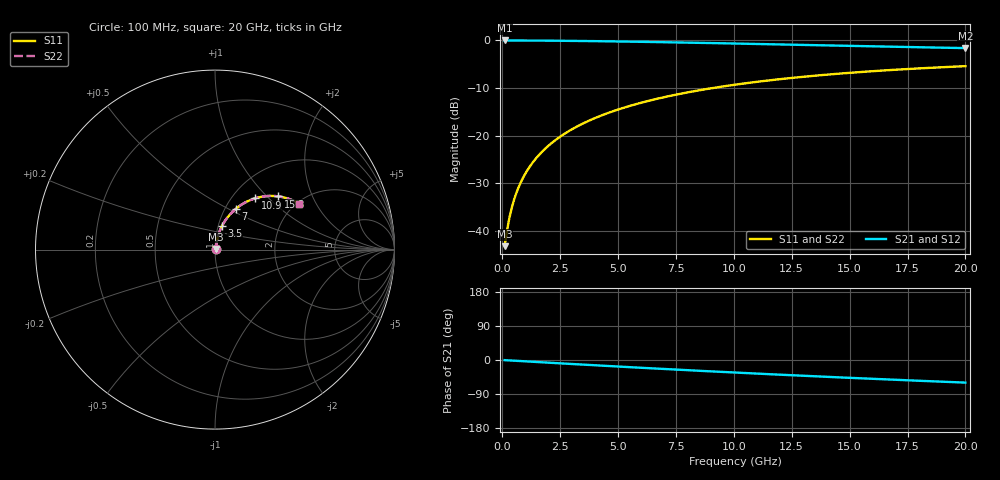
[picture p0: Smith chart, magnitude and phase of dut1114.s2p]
! Touchstone file exported from HFSS 2026.1.0
!  File:  C:/ffzhzh/LocalFiles/Ansys_Project_Files/temp_train_BSMRDL_1114_1783175011_18472.aedt
!  Generated:  10:24:50 PM Jul  4, 2026
!  Design:  BSMRDL
!  Project:  temp_train_BSMRDL_1114_1783175011_18472
! Variables:
!  h_bsmrdl = 5.72um
!  h_ox = 20um
!  h_rdl = 5um
!  h_sub = 80um
!  h_tmrdl = 5um
!  h_tsv = 80um
!  h_via = 3um
!  l_bsmrdl = 949.93um
!  l_sub = 1349.93um
!  l_tmrdl = 200um
!  m_sub = 200um
!  pitch = 35.67um
!  r_tsv = 6um
!  s_tmrdl = 10um
!  w_bsmrdl = 10.42um
!  w_sub = 500um
!  w_tmrdl = 12um
!  x_tsv_center1 = 206um
!  x_tsv_center2 = 1166.35um
!  x_tsv_center3 = 1378.35um
!  x_tsv_center4 = 2338.7um
!  x_tsv_center5 = 2550.7um
!  x_tsv_center6 = 3511.05um
# GHz S MA R 50.000000
! Terminal data exported
! Port[1] = BSM_RDL1_1_T1
! Port[2] = BSM_RDL1_1_T2
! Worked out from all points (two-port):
!   200 points, 100 MHz to 20 GHz, reference 50 ohm
!   highest |S21| = -0.05 dB at 100 MHz (marker M1); lowest = -1.6 dB at 20 GHz (marker M2)
!   |S21| within 3 dB of the highest: start of sweep to end of sweep
!   lowest |S11| = -43.1 dB at 100 MHz (marker M3), VSWR 1.01, Z = 50.6 + j0.414 ohm
!   |S11| at or under -10 dB: start of sweep to 9.108 GHz
!   |S22| runs from -43.1 to -5.4 dB; largest |S21 - S12| = 4e-15
!   S11 on the Smith chart (normalised r, x): 100 MHz: 1.01, +0.01; 3.5 GHz: 1.04, +0.27; 7 GHz: 1.12, +0.54; 10.9 GHz: 1.27, +0.84; 15.3 GHz: 1.56, +1.17; 20 GHz: 2.06, +1.47
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0.1  0.006963 36.0  0.9944 -0.4  0.9944 -0.4  0.006963 36.0
! Gamma 0 0 0 0
! Port Impedance 50 0 50 0
0.2  0.01 54.4  0.9942 -0.7  0.9942 -0.7  0.01 54.4
0.3  0.01355 63.3  0.9941 -1.1  0.9941 -1.1  0.01355 63.3
0.4  0.01726 68.3  0.9939 -1.4  0.9939 -1.4  0.01726 68.3
0.5  0.02104 71.4  0.9937 -1.8  0.9937 -1.8  0.02104 71.4
0.6  0.02485 73.4  0.9935 -2.2  0.9935 -2.2  0.02485 73.4
0.8  0.03252 75.8  0.9931 -2.9  0.9931 -2.9  0.03252 75.8
1.1  0.0441 77.4  0.9924 -3.9  0.9924 -3.9  0.0441 77.5
1.5  0.05956 77.9  0.9913 -5.3  0.9913 -5.3  0.05956 77.9
2.1  0.08258 77.3  0.989 -7.4  0.989 -7.4  0.08258 77.3
2.7  0.1053 75.9  0.9861 -9.5  0.9861 -9.5  0.1053 75.9
3.5  0.1348 73.7  0.9814 -12.2  0.9814 -12.2  0.1348 73.7
5  0.1879 69.2  0.9707 -17.3  0.9707 -17.3  0.1879 69.2
6.8  0.2472 63.7  0.9554 -23.1  0.9554 -23.1  0.2472 63.7
7  0.2535 63.1  0.9535 -23.7  0.9535 -23.7  0.2535 63.1
8.5  0.2988 58.7  0.9392 -28.4  0.9392 -28.4  0.2988 58.7
10.1  0.3434 54.0  0.9231 -33.3  0.9231 -33.3  0.3434 54.1
10.9  0.3642 51.8  0.9148 -35.6  0.9148 -35.6  0.3642 51.8
13.4  0.4229 44.9  0.8888 -42.7  0.8888 -42.7  0.4229 45.0
15.3  0.4612 40.0  0.8696 -47.9  0.8696 -47.9  0.4612 40.0
16.7  0.4862 36.5  0.856 -51.5  0.856 -51.5  0.4862 36.5
20  0.5348 28.5  0.8271 -59.7  0.8271 -59.7  0.5348 28.5
